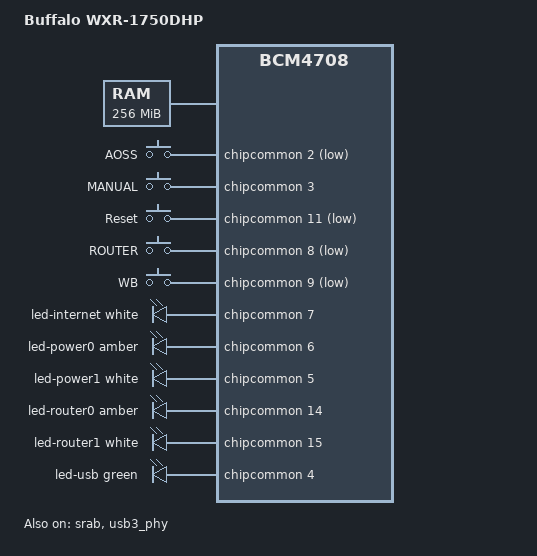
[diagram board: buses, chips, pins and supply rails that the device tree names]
// SPDX-License-Identifier: GPL-2.0-or-later OR MIT
/*
 * Author: Taishi Shimizu <s.taishi14142@gmail.com>
 */

/dts-v1/;

#include "bcm4708.dtsi"
#include "bcm5301x-nand-cs0-bch8.dtsi"
#include <dt-bindings/leds/common.h>

/ {
	compatible = "buffalo,wxr-1750dhp", "brcm,bcm4708";
	model = "Buffalo WXR-1750DHP";

	memory@0 {
		reg = <0x00000000 0x08000000>,
		      <0x88000000 0x08000000>;
		device_type = "memory";
	};

	gpio-keys {
		compatible = "gpio-keys";

		button-aoss {
			gpios = <&chipcommon 2 GPIO_ACTIVE_LOW>;
			label = "AOSS";
			linux,code = <KEY_WPS_BUTTON>;
		};

		/* GPIO 3 is a switch button with AUTO / MANUAL. */
		button-manual {
			gpios = <&chipcommon 3 GPIO_ACTIVE_HIGH>;
			label = "MANUAL";
			linux,code = <BTN_0>;
			linux,input-type = <EV_SW>;
		};

		button-restart {
			gpios = <&chipcommon 11 GPIO_ACTIVE_LOW>;
			label = "Reset";
			linux,code = <KEY_RESTART>;
		};

		/* GPIO 8 and 9 are a tri-state switch button with
		 * ROUTER / AP / WB.
		 */
		button-router {
			gpios = <&chipcommon 8 GPIO_ACTIVE_LOW>;
			label = "ROUTER";
			linux,code = <BTN_1>;
			linux,input-type = <EV_SW>;
		};

		button-wb {
			gpios = <&chipcommon 9 GPIO_ACTIVE_LOW>;
			label = "WB";
			linux,code = <BTN_2>;
			linux,input-type = <EV_SW>;
		};
	};

	leds {
		compatible = "gpio-leds";

		led-internet {
			color = <LED_COLOR_ID_WHITE>;
			function = "internet";
			gpios = <&chipcommon 7 GPIO_ACTIVE_HIGH>;
		};

		led-power0 {
			color = <LED_COLOR_ID_AMBER>;
			function = LED_FUNCTION_POWER;
			gpios = <&chipcommon 6 GPIO_ACTIVE_HIGH>;
		};

		led-power1 {
			color = <LED_COLOR_ID_WHITE>;
			function = LED_FUNCTION_POWER;
			gpios = <&chipcommon 5 GPIO_ACTIVE_HIGH>;
		};

		led-router0 {
			color = <LED_COLOR_ID_AMBER>;
			function = "router";
			gpios = <&chipcommon 14 GPIO_ACTIVE_HIGH>;
		};

		led-router1 {
			color = <LED_COLOR_ID_WHITE>;
			function = "router";
			gpios = <&chipcommon 15 GPIO_ACTIVE_HIGH>;
		};

		led-usb {
			color = <LED_COLOR_ID_GREEN>;
			function = LED_FUNCTION_USB;
			gpios = <&chipcommon 4 GPIO_ACTIVE_HIGH>;
			linux,default-trigger = "usbport";
			trigger-sources = <&xhci_port1 &ehci_port1 &ohci_port1>;
		};
	};
};

&srab {
	status = "okay";

	ports {
		port@0 {
			label = "wan";
		};

		port@1 {
			label = "lan4";
		};

		port@2 {
			label = "lan3";
		};

		port@3 {
			label = "lan2";
		};

		port@4 {
			label = "lan1";
		};
	};
};

&usb3 {
	vcc-gpio = <&chipcommon 10 GPIO_ACTIVE_HIGH>;
};

&usb3_phy {
	status = "okay";
};
